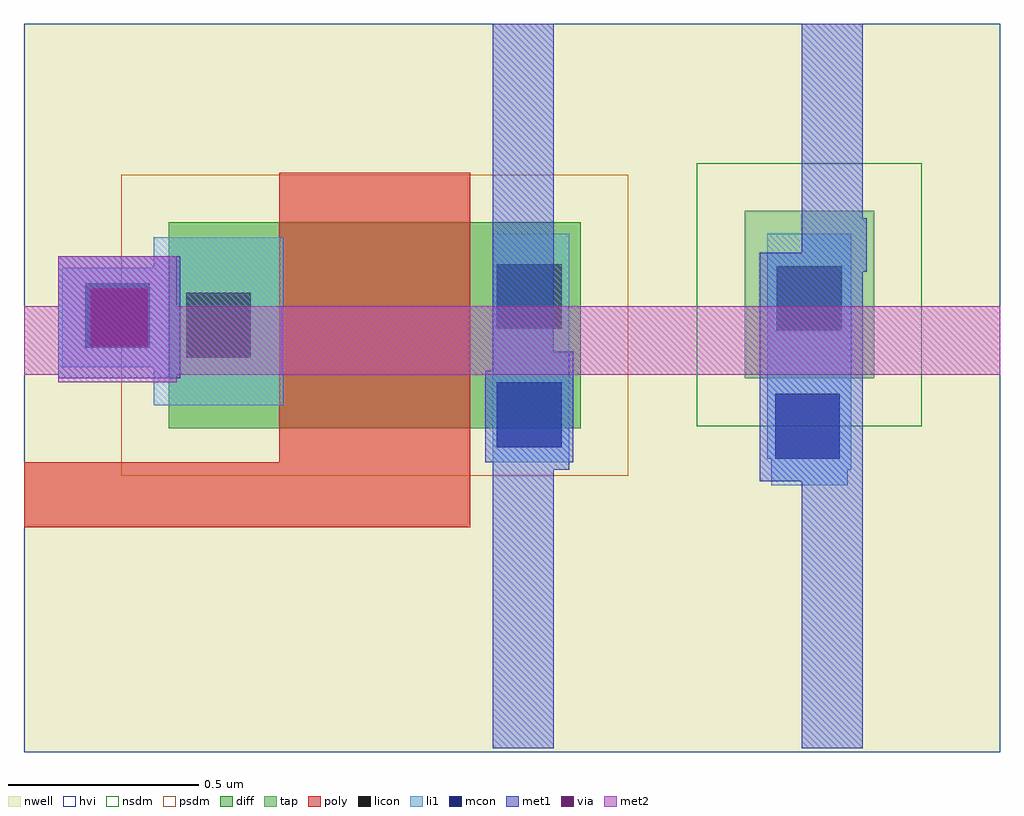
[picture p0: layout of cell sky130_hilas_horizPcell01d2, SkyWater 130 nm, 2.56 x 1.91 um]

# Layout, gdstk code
import gdstk
lib = gdstk.Library(unit=1e-6, precision=1e-09)
def R(c, l, rs):  # rectangles x0, y0, x1, y1
    for r in rs: c.add(gdstk.rectangle(r[:2], r[2:], *l))
nwell = (64, 20)
diff = (65, 20)
tap = (65, 44)
poly = (66, 20)
licon = (66, 44)
li1 = (67, 20)
mcon = (67, 44)
met1 = (68, 20)
via = (68, 44)
met2 = (69, 20)
hvi = (75, 20)
nsdm = (93, 44)
psdm = (94, 20)

sky130_hilas_li2m2 = lib.new_cell('sky130_hilas_li2m2')
R(sky130_hilas_li2m2, li1, [(-0.13,-0.12,0.19,-0.09), (-0.13,-0.09,0.2,0.1), (-0.13,0.1,0.19,0.14)])
R(sky130_hilas_li2m2, mcon, [(-0.07,-0.08,0.1,0.09)])
R(sky130_hilas_li2m2, met1, [(-0.14,-0.15,0.18,0.17)])
R(sky130_hilas_li2m2, via, [(-0.055,-0.065,0.095,0.085)])
R(sky130_hilas_li2m2, met2, [(-0.14,-0.15,0.17,0.18)])

sky130_hilas_horizpcell0 = lib.new_cell('sky130_hilas_horizPcell01d2')
R(sky130_hilas_horizpcell0, nwell, [(-2.89,0.41,-0.33,2.32)])
R(sky130_hilas_horizpcell0, diff, [(-2.51,1.26,-1.43,1.8)])
R(sky130_hilas_horizpcell0, tap, [(-1,1.39,-0.66,1.83)])
R(sky130_hilas_horizpcell0, poly, [(-2.89,1,-1.72,1.17), (-2.22,1.17,-1.72,1.93)])
R(sky130_hilas_horizpcell0, licon, [(-2.465,1.445,-2.295,1.615), (-0.915,1.515,-0.745,1.685), (-1.65,1.52,-1.48,1.69)])
R(sky130_hilas_horizpcell0, li1, [(-0.93,1.11,-0.73,1.15), (-0.93,1.15,-0.72,1.18), (-1.66,1.17,-1.46,1.77), (-0.94,1.18,-0.72,1.77), (-2.55,1.32,-2.21,1.76)])
R(sky130_hilas_horizpcell0, mcon, [(-0.92,1.18,-0.75,1.35), (-1.65,1.21,-1.48,1.38)])
R(sky130_hilas_horizpcell0, met1, [(-1.66,0.42,-1.5,1.15), (-0.85,0.42,-0.69,1.12), (-0.96,1.12,-0.69,1.67), (-1.66,1.15,-1.46,1.17), (-1.68,1.17,-1.45,1.41), (-1.66,1.41,-1.45,1.46), (-1.66,1.46,-1.5,2.32), (-0.96,1.67,-0.68,1.72), (-0.85,1.72,-0.68,1.81), (-0.85,1.81,-0.69,2.32)])
R(sky130_hilas_horizpcell0, met2, [(-2.89,1.4,-2.8,1.58), (-2.5,1.4,-0.33,1.58)])
R(sky130_hilas_horizpcell0, hvi, [(-2.89,0.41,-0.33,2.32)])
R(sky130_hilas_horizpcell0, nsdm, [(-1.125,1.265,-0.535,1.955)])
R(sky130_hilas_horizpcell0, psdm, [(-2.635,1.135,-1.305,1.925)])
sky130_hilas_horizpcell0.add(gdstk.Reference(sky130_hilas_li2m2, (-2.66,1.56), x_reflection=True))

lib.write_gds('sky130_hilas_horizPcell01d2.gds')
